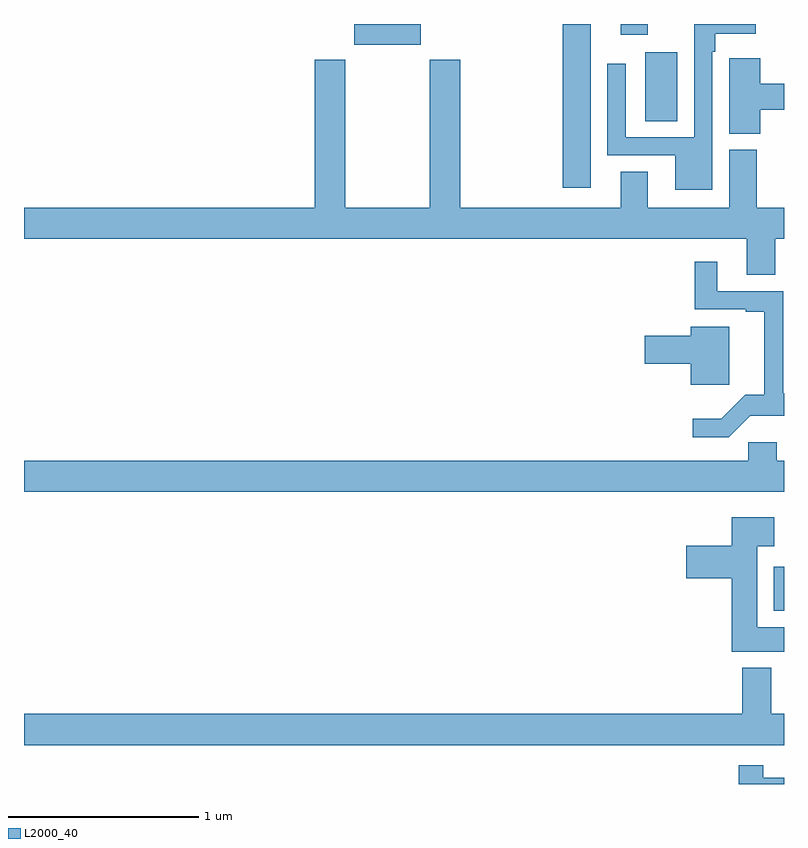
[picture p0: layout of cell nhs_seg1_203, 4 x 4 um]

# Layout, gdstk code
import gdstk
lib = gdstk.Library(unit=1e-6, precision=1e-09)
def R(c, l, rs):  # rectangles x0, y0, x1, y1
    for r in rs: c.add(gdstk.rectangle(r[:2], r[2:], *l))
def P(c, l, *ps):  # polygons
    for p in ps: c.add(gdstk.Polygon(p, *l))
L2000_40 = (2000, 40)

nhs_seg1_203 = lib.new_cell('nhs_seg1_203')
R(nhs_seg1_203, L2000_40, [(124.946,547.112,125,547.342), (123.836,549.336,123.982,550.199), (124.271,549.688,124.438,550.051), (122.738,550.091,123.088,550.199), (124.142,550.143,124.282,550.199)])
P(nhs_seg1_203, L2000_40, [(124.623,550.052),(124.639,550.052),(124.639,550.148),(124.852,550.148),(124.852,550.199),(124.527,550.199),(124.527,549.603),(124.167,549.603),(124.167,549.991),(124.071,549.991),(124.071,549.507),(124.427,549.507),(124.427,549.326),(124.623,549.326)],
  [(124.874,549.748),(125,549.748),(125,549.884),(124.874,549.884),(124.874,550.018),(124.713,550.018),(124.713,549.905),(124.712,549.905),(124.712,549.622),(124.874,549.622)],
  [(124.953,549.068),(125,549.068),(125,549.232),(124.856,549.232),(124.856,549.537),(124.712,549.537),(124.712,549.232),(124.282,549.232),(124.282,549.422),(124.142,549.422),(124.142,549.232),(123.296,549.232),(123.296,550.012),(123.136,550.012),(123.136,549.232),(122.691,549.232),(122.691,550.012),(122.531,550.012),(122.531,549.232),(121,549.232),(121,549.068),(124.805,549.068),(124.805,548.878),(124.953,548.878)],
  [(124.823,548.138),(125,548.138),(125,548.255),(124.997,548.255),(124.997,548.793),(124.648,548.793),(124.648,548.947),(124.531,548.947),(124.531,548.697),(124.799,548.697),(124.799,548.685),(124.895,548.685),(124.895,548.248),(124.795,548.248),(124.669,548.122),(124.521,548.122),(124.521,548.025),(124.71,548.025)],
  [(124.711,548.605),(124.508,548.605),(124.508,548.558),(124.266,548.558),(124.266,548.411),(124.508,548.411),(124.508,548.3),(124.711,548.3)],
  [(125,547.9),(124.963,547.9),(124.963,547.998),(124.812,547.998),(124.812,547.9),(121,547.9),(121,547.736),(125,547.736)],
  [(125,547.024),(124.858,547.024),(124.858,547.451),(124.948,547.451),(124.948,547.603),(124.724,547.603),(124.724,547.453),(124.485,547.453),(124.485,547.283),(124.724,547.283),(124.724,546.896),(125,546.896)],
  [(125,546.568),(124.933,546.568),(124.933,546.811),(124.781,546.811),(124.781,546.568),(121,546.568),(121,546.404),(125,546.404)],
  [(125,546.232),(124.891,546.232),(124.891,546.298),(124.762,546.298),(124.762,546.199),(125,546.199)])

lib.write_gds('nhs_seg1_203.gds')
